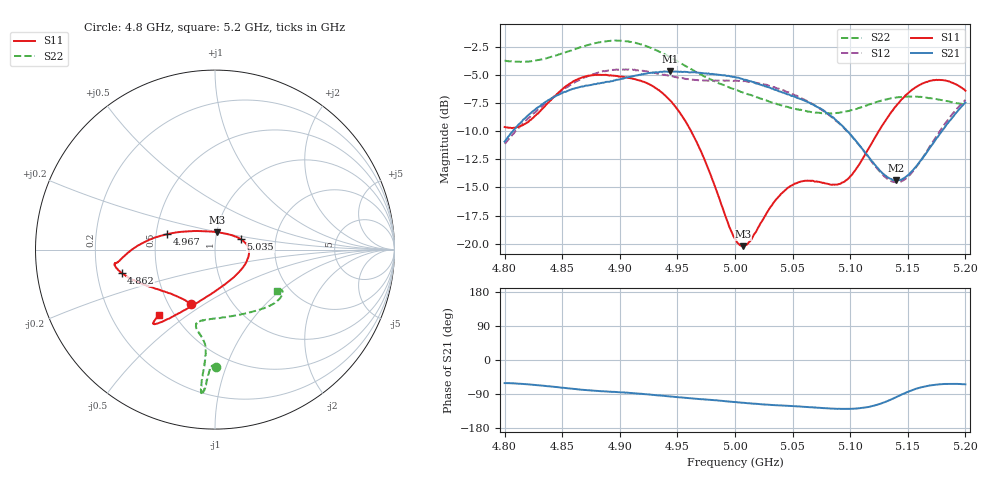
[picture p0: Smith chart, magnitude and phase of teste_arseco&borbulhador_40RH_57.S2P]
! Network Analyzer HP8722D
! Hewlett-Packard
! Data name: Linha & Wilkinson
! Saver's name: Rodrigo Anjos
! Comments: Teste da utilização de aquisição
! continua pelo VNA HP8722D
! Time and date: 15/4/2025 16:49
!  Frequency  S11  S21  S12  S22
# HZ  S  MA R 50
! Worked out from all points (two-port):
!   401 points, 4.8 GHz to 5.2 GHz, reference 50 ohm
!   highest |S21| = -4.63 dB at 4.944 GHz (marker M1); lowest = -14.4 dB at 5.14 GHz (marker M2)
!   |S21| within 3 dB of the highest: 4.832 GHz to 5.068 GHz (236.3 MHz wide, 4.77 % of centre); 5.198165 GHz to end of sweep
!   lowest |S11| = -20.2 dB at 5.007 GHz (marker M3), VSWR 1.22, Z = 50.4 + j9.81 ohm
!   |S11| at or under -10 dB: 4.962 GHz to 5.125 GHz (162.6 MHz wide, 3.22 % of centre)
!   |S22| runs from -8.4 to -1.9 dB; largest |S21 - S12| = 0.88
!   S11 on the Smith chart (normalised r, x): 4.8 GHz: 0.65, -0.44; 4.862 GHz: 0.31, -0.11; 4.967 GHz: 0.57, +0.11; 5.035 GHz: 1.33, +0.16; 5.2 GHz: 0.41, -0.39
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4.8e9  0.3309 -114.0  0.2849 -61.0  0.2788 -175.0  0.6542 -89.6
4.819e9  0.3453 -134.0  0.3675 -63.9  0.3551 -173.5  0.6484 -91.3
4.862e9  0.5364 -165.9  0.4942 -76.8  0.5278 -176.6  0.7393 -93.6
4.867e9  0.5496 -167.8  0.5016 -78.5  0.5427 -177.6  0.7549 -93.9
4.899e9  0.5558 -172.3  0.5384 -84.9  0.5964 175.7  0.8028 -95.3
4.934e9  0.4834 -178.2  0.5813 -93.7  0.5734 171.9  0.7181 -95.7
4.944e9  0.4336 177.3  0.5869 -96.3  0.5581 171.8  0.6776 -95.5
4.967e9  0.2815 162.3  0.5789 -102.3  0.5355 174.0  0.5798 -95.1
5e9  0.1052 106.0  0.5525 -111.1  0.5336 176.3  0.4841 -99.3
5.007e9  0.09735 81.9  0.5405 -112.8  0.5301 176.3  0.4712 -101.2
5.013e9  0.1023 62.5  0.53 -114.4  0.5258 176.0  0.4612 -102.2
5.035e9  0.1555 21.8  0.4842 -119.3  0.4957 174.9  0.422 -103.9
5.05e9  0.1824 6.1  0.4553 -121.8  0.4632 174.3  0.4015 -100.2
5.067e9  0.1908 -12.1  0.4183 -124.6  0.4198 173.9  0.3851 -91.7
5.086e9  0.183 -42.7  0.3621 -128.4  0.3602 173.6  0.3815 -77.5
5.097e9  0.1922 -65.8  0.3187 -129.1  0.318 174.4  0.3891 -68.3
5.134e9  0.3749 -116.5  0.1954 -106.2  0.1916 -159.0  0.4425 -43.4
5.14e9  0.4124 -120.1  0.1912 -97.8  0.1876 -149.4  0.4481 -40.8
5.152e9  0.4769 -124.8  0.2064 -81.6  0.2027 -130.9  0.4527 -36.4
5.17e9  0.5324 -128.8  0.2708 -66.8  0.275 -112.9  0.4449 -32.2
5.184e9  0.5312 -130.2  0.3411 -63.2  0.3514 -107.3  0.432 -31.3
5.2e9  0.4807 -130.5  0.4254 -64.2  0.4372 -106.2  0.4161 -33.5
